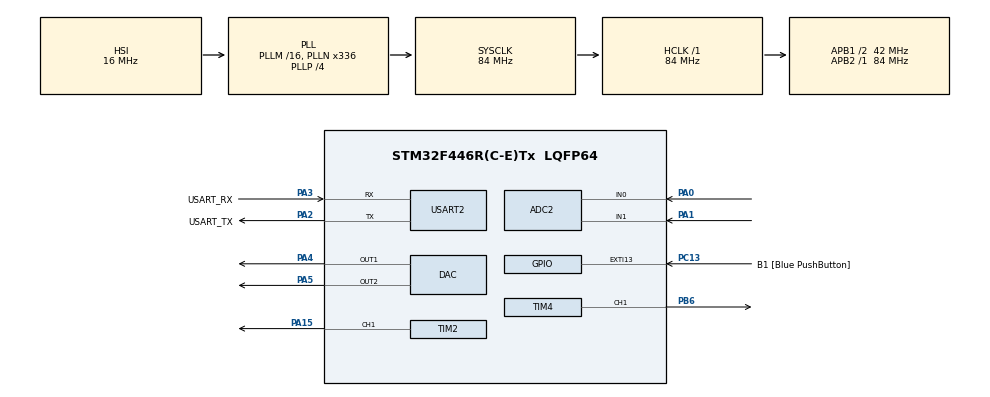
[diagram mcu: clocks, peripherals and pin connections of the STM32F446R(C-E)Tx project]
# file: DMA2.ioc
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Mcu.Family=STM32F4
TIM2.Channel-Output\ Compare1\ CH1=TIM_CHANNEL_1
ADC2.ExternalTrigConv=ADC_EXTERNALTRIGCONV_T2_TRGO
PH0-OSC_IN.Signal=RCC_OSC_IN
RCC.CortexFreq_Value=84000000
Dma.DAC2.2.PeriphInc=DMA_PINC_DISABLE
Dma.DAC2.2.FIFOThreshold=DMA_FIFO_THRESHOLD_FULL
ADC2.SamplingTime-1\#ChannelRegularConversion=ADC_SAMPLETIME_3CYCLES
ADC2.Channel-0\#ChannelRegularConversion=ADC_CHANNEL_0
PA14.GPIO_Label=TCK
Dma.DAC1.1.PeriphInc=DMA_PINC_DISABLE
Dma.DAC2.2.Priority=DMA_PRIORITY_LOW
PC13.GPIO_Label=B1 [Blue PushButton]
Dma.DAC2.2.FIFOMode=DMA_FIFOMODE_ENABLE
Dma.DAC1.1.PeriphBurst=DMA_PBURST_SINGLE
TIM4.TIM_MasterOutputTrigger=TIM_TRGO_UPDATE
RCC.SYSCLKSource=RCC_SYSCLKSOURCE_PLLCLK
ProjectManager.StackSize=0x400
SH.COMP_DAC2_group.0=DAC_OUT2,DAC_OUT2
Dma.DAC1.1.FIFOThreshold=DMA_FIFO_THRESHOLD_FULL
Dma.DAC2.2.Instance=DMA1_Stream6
ADC2.DMAContinuousRequests=ENABLE
RCC.HCLKFreq_Value=84000000
Dma.ADC2.0.Direction=DMA_PERIPH_TO_MEMORY
RCC.APB2TimFreq_Value=84000000
PB6.Signal=S_TIM4_CH1
Dma.ADC2.0.MemInc=DMA_MINC_ENABLE
ADC2.EOCSelection=ADC_EOC_SEQ_CONV
RCC.AHBFreq_Value=84000000
PH0-OSC_IN.Mode=HSE-External-Oscillator
Dma.ADC2.0.Priority=DMA_PRIORITY_VERY_HIGH
RCC.HSE_VALUE=8000000
DAC.DAC_Trigger2=DAC_TRIGGER_T4_TRGO
DAC.DAC_Trigger=DAC_TRIGGER_T4_TRGO
PC14-OSC32_IN.Mode=LSE-External-Oscillator
PA14.Mode=Serial_Wire
Dma.DAC2.2.PeriphBurst=DMA_PBURST_SINGLE
NVIC.TIM2_IRQn=true\:0\:0\:false\:false\:true\:true\:true
Dma.DAC1.1.PeriphDataAlignment=DMA_PDATAALIGN_HALFWORD
Dma.DAC2.2.MemBurst=DMA_MBURST_INC8
TIM4.Channel-Output\ Compare1\ CH1=TIM_CHANNEL_1
SH.ADCx_IN0.0=ADC2_IN0,IN0
Dma.DAC1.1.Priority=DMA_PRIORITY_MEDIUM
TIM4.Period=499
Dma.DAC2.2.MemInc=DMA_MINC_ENABLE
RCC.FLatency-AdvancedSettings=FLASH_LATENCY_2
Dma.DAC1.1.Direction=DMA_MEMORY_TO_PERIPH
PH1-OSC_OUT.Mode=HSE-External-Oscillator
Mcu.Package=LQFP64
TIM2.Prescaler=83
TIM2.OCMode_1=TIM_OCMODE_TOGGLE
USART2.VirtualMode=VM_ASYNC
PA2.GPIO_Label=USART_TX
ADC2.Channel-1\#ChannelRegularConversion=ADC_CHANNEL_1
PA15.Signal=S_TIM2_CH1_ETR
ADC2.SamplingTime-0\#ChannelRegularConversion=ADC_SAMPLETIME_3CYCLES
Dma.ADC2.0.Mode=DMA_NORMAL
TIM2.TIM_MasterOutputTrigger=TIM_TRGO_UPDATE
SH.ADCx_IN1.0=ADC2_IN1,IN1
Dma.ADC2.0.PeriphDataAlignment=DMA_PDATAALIGN_HALFWORD
NVIC.DMA2_Stream2_IRQn=true\:0\:0\:false\:false\:true\:false\:true
ADC2.NbrOfConversion=2
SH.S_TIM4_CH1.0=TIM4_CH1,Output Compare1 CH1
Dma.Request2=DAC2
Dma.Request1=DAC1
RCC.APB1TimFreq_Value=84000000
ADC2.Rank-0\#ChannelRegularConversion=1
NVIC.DMA1_Stream6_IRQn=true\:0\:0\:false\:false\:true\:false\:true
Dma.Request0=ADC2
Dma.DAC1.1.MemDataAlignment=DMA_MDATAALIGN_HALFWORD
PA3.Signal=USART2_RX
PB3.GPIO_Label=SWO
PC15-OSC32_OUT.Mode=LSE-External-Oscillator
SH.COMP_DAC1_group.0=DAC_OUT1,DAC_OUT1
Dma.DAC1.1.MemBurst=DMA_MBURST_INC8
PC13.Signal=GPXTI13
RCC.APB1CLKDivider=RCC_HCLK_DIV2
PC14-OSC32_IN.Signal=RCC_OSC32_IN
Dma.DAC2.2.MemDataAlignment=DMA_MDATAALIGN_HALFWORD
PA0-WKUP.Signal=ADCx_IN0
Dma.DAC1.1.MemInc=DMA_MINC_ENABLE
PA13.Signal=SYS_JTMS-SWDIO
PA3.Mode=Asynchronous
Dma.DAC1.1.Mode=DMA_CIRCULAR
ProjectManager.TargetToolchain=STM32CubeIDE
NVIC.DMA1_Stream5_IRQn=true\:0\:0\:false\:false\:true\:false\:true
Dma.ADC2.0.MemDataAlignment=DMA_MDATAALIGN_HALFWORD
Dma.DAC2.2.Mode=DMA_CIRCULAR
RCC.USBFreq_Value=168000000
TIM4.Prescaler=83
PC15-OSC32_OUT.Signal=RCC_OSC32_OUT
PA1.Signal=ADCx_IN1
PA5.Signal=COMP_DAC2_group
board=NUCLEO-F446RE
RCC.VCOOutputFreq_Value=336000000
Dma.ADC2.0.PeriphInc=DMA_PINC_DISABLE
RCC.APB2Freq_Value=84000000
VP_TIM2_VS_ClockSourceINT.Mode=Internal
Dma.DAC2.2.PeriphDataAlignment=DMA_PDATAALIGN_HALFWORD
PH1-OSC_OUT.Signal=RCC_OSC_OUT
TIM2.Period=49
PA13.Mode=Serial_Wire
Dma.DAC1.1.FIFOMode=DMA_FIFOMODE_ENABLE
Mcu.Name=STM32F446R(C-E)Tx
PA2.Signal=USART2_TX
PA13.GPIO_Label=TMS
RCC.48MHZClocksFreq_Value=84000000
PB3.Signal=SYS_JTDO-SWO
PA4.Signal=COMP_DAC1_group
RCC.SYSCLKFreq_VALUE=84000000
ADC2.NbrOfConversionFlag=1
PC13.GPIO_ModeDefaultEXTI=GPIO_MODE_IT_FALLING
Dma.DAC1.1.Instance=DMA1_Stream5
SH.S_TIM2_CH1_ETR.0=TIM2_CH1,Output Compare1 CH1
PA14.Signal=SYS_JTCK-SWCLK
ProjectManager.HeapSize=0x200
Dma.ADC2.0.FIFOMode=DMA_FIFOMODE_DISABLE
RCC.HSI_VALUE=16000000
VP_TIM4_VS_ClockSourceINT.Mode=Internal
RCC.PLLP=RCC_PLLP_DIV4
NVIC.PriorityGroup=NVIC_PRIORITYGROUP_0
RCC.PLLN=336
Dma.DAC2.2.Direction=DMA_MEMORY_TO_PERIPH
ADC2.Rank-1\#ChannelRegularConversion=2
PA2.Mode=Asynchronous
NVIC.TIM4_IRQn=true\:0\:0\:false\:false\:true\:true\:true
RCC.APB1Freq_Value=42000000
Dma.ADC2.0.Instance=DMA2_Stream2
PA3.GPIO_Label=USART_RX

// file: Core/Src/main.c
/**
 * Jaqueline Maurer Machado		Turma 4422		Nº 11
 * Exercício 2 da Lista de DMA
 */

/* USER CODE BEGIN Header */
/**
  ******************************************************************************
  * @file           : main.c
  * @brief          : Main program body
  ******************************************************************************
  * @attention
  *
  * <h2><center>&copy; Copyright (c) 2021 STMicroelectronics.
  * All rights reserved.</center></h2>
  *
  * This software component is licensed by ST under BSD 3-Clause license,
  * the "License"; You may not use this file except in compliance with the
  * License. You may obtain a copy of the License at:
  *                        opensource.org/licenses/BSD-3-Clause
  *
  ******************************************************************************
  */
/* USER CODE END Header */
#include "main.h"
#include "adc.h"
#include "dac.h"
#include "dma.h"
#include "tim.h"
#include "usart.h"
#include "gpio.h"

/* USER CODE BEGIN Includes */
#include <stdio.h>
#include <math.h>
#include <stdlib.h>
#include <string.h>
/* USER CODE END Includes */

/* USER CODE BEGIN PD */
///frequência do DAC → 2KHz
#define DAC_FREQ 2000

///frequência do ADC → 10KHz
#define ADC_FREQ 10000

///número de pontos para cada ciclo da onda → 360º/100=3,6
///o número de pontos define também a frequência da onda → 100 pontos a 2KHz vai dar uma frequência da onda de 20Hz
#define POINTS_PERIOD 1000

///define do valor de PI usado para fazer os cálculos da onda senoidal
#define PI 3.141592
/* USER CODE END PD */

void SystemClock_Config(void);
/* USER CODE BEGIN PFP */
///função que gera uma onda triangular
void triangle_gen(int val_n);

///função que gera uma onda senoidal
void sine_gen (int val_n);

////função que calcula a nova frequência se o define for alterado
void freq_change (uint16_t PSC, uint32_t FREQ, TIM_HandleTypeDef* htim);
/* USER CODE END PFP */

/* USER CODE BEGIN 0 */
///vetor que recebe os valores da onda senoidal
uint16_t sin_val[POINTS_PERIOD];

///vetor que recebe os valores da onda triangular
uint16_t triangle_val[POINTS_PERIOD];

///vetor que armazena os valores de cada canal do ADC
volatile uint16_t adc_val[2] = {0,0};

///canais do ADC
uint16_t ch0=0, ch1=0;

///enumeração
enum{IN0=0, IN1};
/* USER CODE END 0 */

int main(void)
{

  /* MCU Configuration--------------------------------------------------------*/

  /* Reset of all peripherals, Initializes the Flash interface and the Systick. */
  HAL_Init();

  /* Configure the system clock */
  SystemClock_Config();

  /* Initialize all configured peripherals */
  MX_GPIO_Init();
  MX_DMA_Init();
  MX_USART2_UART_Init();
  MX_ADC2_Init();
  MX_DAC_Init();
  MX_TIM4_Init();
  MX_TIM2_Init();
  /* USER CODE BEGIN 2 */
  ///Muda a frequência do trigger do ADC → TIMER2
  freq_change (84,ADC_FREQ,&htim2);

  ///Muda a frequência do trigger do DAC → TIMER4
  freq_change(84,DAC_FREQ,&htim4);

  ///Inicialização do OC do canal 1 do TIMER2 → PA15
  ///Usado para testar a frequência
  HAL_TIM_OC_Start_IT(&htim2, TIM_CHANNEL_1);

  ///Inicialização do OC do canal 1 do TIMER4 → PB6
  ///Usado para testar a frequência
  HAL_TIM_OC_Start_IT(&htim4, TIM_CHANNEL_1);

  ///Gera o sinal senoidal
  sine_gen(POINTS_PERIOD);

  ///Gera o sinal triangular
  triangle_gen(POINTS_PERIOD);

  ///Inicialização do DAC por meio de DMA → Canal 1: Onda Triangular → PA4
  ///Usando modo circular, então só precisa mandar iniciar uma vez
  HAL_DAC_Start_DMA(&hdac, DAC_CHANNEL_1, (uint32_t*)&triangle_val[0], POINTS_PERIOD, DAC_ALIGN_12B_R);

  ///Inicialização do DAC por meio de DMA → Canal 2: Onda Senoidal → PA5
  ///Usando modo circular, então só precisa mandar iniciar uma vez
  HAL_DAC_Start_DMA(&hdac, DAC_CHANNEL_2,(uint32_t*)&sin_val[0], POINTS_PERIOD, DAC_ALIGN_12B_R);

  ///Inicialização da amostragem do ADC2 → PA0 e PA1
  ///Usando modo normal, então é necessário "pedir" para ele fazer de novo
  HAL_ADC_Start_DMA(&hadc2, (uint32_t*)&adc_val[0],2);
  /* USER CODE END 2 */

  /* Infinite loop */
  while (1)
  {

  }
}

void SystemClock_Config(void)
{
  RCC_OscInitTypeDef RCC_OscInitStruct = {0};
  RCC_ClkInitTypeDef RCC_ClkInitStruct = {0};

  /** Configure the main internal regulator output voltage
  */
  __HAL_RCC_PWR_CLK_ENABLE();
  __HAL_PWR_VOLTAGESCALING_CONFIG(PWR_REGULATOR_VOLTAGE_SCALE3);
  /** Initializes the RCC Oscillators according to the specified parameters
  * in the RCC_OscInitTypeDef structure.
  */
  RCC_OscInitStruct.OscillatorType = RCC_OSCILLATORTYPE_HSI;
  RCC_OscInitStruct.HSIState = RCC_HSI_ON;
  RCC_OscInitStruct.HSICalibrationValue = RCC_HSICALIBRATION_DEFAULT;
  RCC_OscInitStruct.PLL.PLLState = RCC_PLL_ON;
  RCC_OscInitStruct.PLL.PLLSource = RCC_PLLSOURCE_HSI;
  RCC_OscInitStruct.PLL.PLLM = 16;
  RCC_OscInitStruct.PLL.PLLN = 336;
  RCC_OscInitStruct.PLL.PLLP = RCC_PLLP_DIV4;
  RCC_OscInitStruct.PLL.PLLQ = 2;
  RCC_OscInitStruct.PLL.PLLR = 2;
  if (HAL_RCC_OscConfig(&RCC_OscInitStruct) != HAL_OK)
  {
    Error_Handler();
  }
  /** Initializes the CPU, AHB and APB buses clocks
  */
  RCC_ClkInitStruct.ClockType = RCC_CLOCKTYPE_HCLK|RCC_CLOCKTYPE_SYSCLK
                              |RCC_CLOCKTYPE_PCLK1|RCC_CLOCKTYPE_PCLK2;
  RCC_ClkInitStruct.SYSCLKSource = RCC_SYSCLKSOURCE_PLLCLK;
  RCC_ClkInitStruct.AHBCLKDivider = RCC_SYSCLK_DIV1;
  RCC_ClkInitStruct.APB1CLKDivider = RCC_HCLK_DIV2;
  RCC_ClkInitStruct.APB2CLKDivider = RCC_HCLK_DIV1;

  if (HAL_RCC_ClockConfig(&RCC_ClkInitStruct, FLASH_LATENCY_2) != HAL_OK)
  {
    Error_Handler();
  }
}

/* USER CODE BEGIN 4 */
///Função que faz o cálculo da onda senoidal
	void sine_gen(int val_n){
		int i;
		for (i=0; i<val_n; i++){
			sin_val[i] = (1800*(1 + sin(i*2*PI/val_n)));
		}
	}

///Função que faz o cálculo da onda triangular
	void triangle_gen(int val_n){
		int i;
		for(i=0; i<val_n; i++){
			triangle_val[i] = i*4000/val_n;
		}
	}

///Função que calcula o novo valor da frequência quando mudar o o define de DAC_FREQ ou ADC_FREQ, já que ela é ajustável como pede no exercício
	void freq_change(uint16_t PSC, uint32_t FREQ, TIM_HandleTypeDef* htim){
		///Primeiro calcula o valor do ARR
		int ARR = (84000000/(PSC*FREQ))-1;
		if(ARR>65000){ ///Se o valor calculado de ARR passar de 64999, que é o maximo que ele pode ter
			PSC = 1291; ///Estabelece um valor fixo para o PSC
			ARR = (84000000/(PSC*FREQ))-1; ///e calcula o ARR novamente
		}
		__HAL_TIM_SET_PRESCALER(htim, PSC); ///seta o novo valor de PSC
		__HAL_TIM_SET_AUTORELOAD(htim, ARR); ///seta o novo valor de ARR
	}

	/**
	 * Essa função significa que a conversão está completa e gera uma interrupção
	 * Quando o ADC mandar os valores por DMA para a memória, vai gerar uma interrupção
	 * Com essa interrupção, por estar no modo normal, é preciso "pedir" para que o DMA faça esse processo novamente
	 */
	void HAL_ADC_ConvCpltCallback(ADC_HandleTypeDef* hadc){
		ch0 = adc_val[IN0]; ///salva os valores do canal 0 do ADC na variável ch0
		ch1 = adc_val[IN1]; ///salva os valores do canal 1 do ADC na variável ch1

		HAL_ADC_Start_DMA(&hadc2, &adc_val[0], 2); ///inicializa novamente fazer uma nova conversão e enviar para a memória
	}
/* USER CODE END 4 */

void Error_Handler(void)
{
  __disable_irq();
  while (1)
  {
  }
}

/************************ (C) COPYRIGHT STMicroelectronics *****END OF FILE****/
